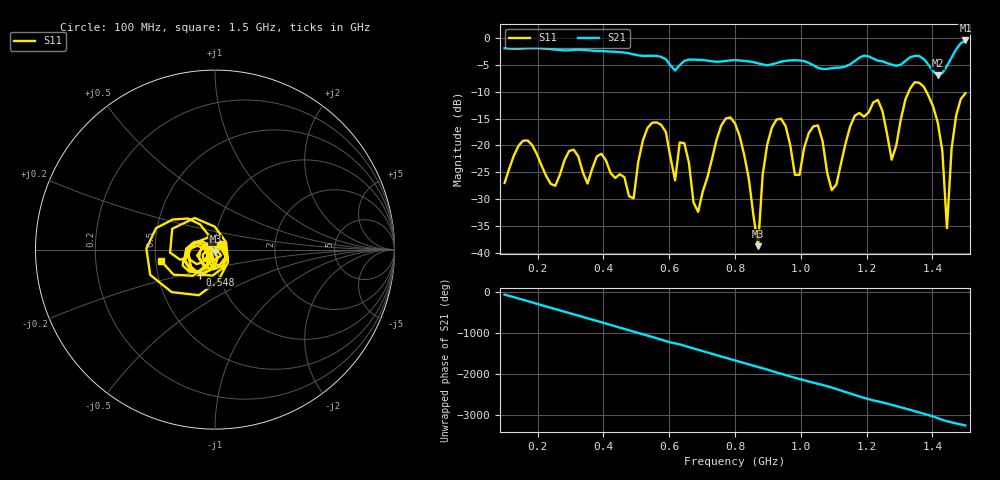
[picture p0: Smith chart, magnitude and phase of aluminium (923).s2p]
! NanoVNA-App
! Date: 2025-09-25 15:02:28
! Start: 100MHz Stop: 1,5GHz Points: 101
! S-Parameter data: F S11 S21 S12 S22
# Hz S RI R 50
!  Frequency  S11_Real  S11_Imag  S21_Real  S21_Imag  S12_Real  S12_Imag  S22_Real  S22_Imag
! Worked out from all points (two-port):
!   101 points, 100 MHz to 1.5 GHz, reference 50 ohm
!   highest |S21| = -0.47 dB at 1.5 GHz (marker M1); lowest = -7.0 dB at 1.416 GHz (marker M2)
!   |S21| within 3 dB of the highest: start of sweep to 571.4 MHz; 1.46 GHz to end of sweep (the widest 2 of 4)
!   lowest |S11| = -38.7 dB at 870 MHz (marker M3), VSWR 1.02, Z = 50.3 - j1.13 ohm
!   |S11| at or under -10 dB: start of sweep to 1.328 GHz; 1.381 GHz to end of sweep
!   S12 and S22 are empty: the file has one direction only
!   S11 on the Smith chart (normalised r, x): 100 MHz: 1.07, +0.06; 548 MHz: 0.82, -0.24; 1.5 GHz: 0.54, -0.08
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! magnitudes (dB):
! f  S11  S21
! 100 MHz  -27.0  -1.9
! 156 MHz  -19.1  -2.0
! 338 MHz  -25.1  -2.2
! 492 MHz  -29.8  -3.1
! 548 MHz  -15.8  -3.3
! 576 MHz  -16.2  -3.5
! 618 MHz  -26.5  -6.1
! 646 MHz  -19.6  -4.3
! 688 MHz  -32.3  -4.1
! 800 MHz  -15.9  -4.1
! 870 MHz  -38.7  -4.7
! 912 MHz  -16.7  -4.9
! 996 MHz  -25.5  -4.2
! 1.038 GHz  -16.5  -5.1
! 1.094 GHz  -28.3  -5.6
! 1.234 GHz  -11.5  -4.2
! 1.276 GHz  -22.6  -5.0
! 1.346 GHz  -8.2  -3.3
! 1.416 GHz  -15.7  -7.0
! 1.444 GHz  -35.4  -5.2
! 1.458 GHz  -20.6  -3.7
! 1.5 GHz  -10.3  -0.5
